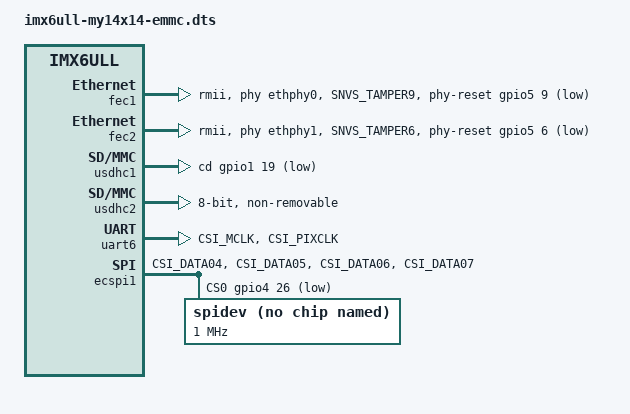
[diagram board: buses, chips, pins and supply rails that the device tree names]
/*
 * Copyright (C) 2016 Freescale Semiconductor, Inc.
 *
 * This program is free software; you can redistribute it and/or modify
 * it under the terms of the GNU General Public License version 2 as
 * published by the Free Software Foundation.
 */

#include "imx6ull-14x14-evk.dts"

&pinctrl_lcdif_reset {
	fsl,pins = <
		/* cleared: TAMPER9 used for ENET1 PHY reset on this board */
	>;
};

&iomuxc_snvs {
	imx6ull-myboard {
		pinctrl_enet1_reset: enet1resetgrp {
			fsl,pins = <
				MX6ULL_PAD_SNVS_TAMPER9__GPIO5_IO09	0x000110A0
			>;
		};

		pinctrl_enet2_reset: enet2resetgrp {
			fsl,pins = <
				MX6ULL_PAD_SNVS_TAMPER6__GPIO5_IO06	0x000110A0
			>;
		};
	};
};


&fec1 {
	pinctrl-names = "default";
	pinctrl-0 = <&pinctrl_enet1
		     &pinctrl_enet1_reset>;
	phy-mode = "rmii";
	phy-handle = <&ethphy0>;
	phy-reset-gpios = <&gpio5 9 GPIO_ACTIVE_LOW>;
	phy-reset-duration = <200>;
	status = "okay";
};

&fec2 {
	pinctrl-names = "default";
	pinctrl-0 = <&pinctrl_enet2
		     &pinctrl_enet2_reset>;
	phy-mode = "rmii";
	phy-handle = <&ethphy1>;
	phy-reset-gpios = <&gpio5 6 GPIO_ACTIVE_LOW>;
	phy-reset-duration = <200>;
	status = "okay";
};

&ethphy0 {
	smsc,disable-energy-detect;
	reg = <0>;
};

&ethphy1 {
	smsc,disable-energy-detect;
};

&usdhc1 {
	pinctrl-names = "default", "state_100mhz", "state_200mhz";
	pinctrl-0 = <&pinctrl_usdhc1>;
	pinctrl-1 = <&pinctrl_usdhc1_100mhz>;
	pinctrl-2 = <&pinctrl_usdhc1_200mhz>;
	cd-gpios = <&gpio1 19 GPIO_ACTIVE_LOW>;
	keep-power-in-suspend;
	enable-sdio-wakeup;
	no-1-8-v;
	status = "okay";
};

&usdhc2 {
	pinctrl-names = "default", "state_100mhz", "state_200mhz";
	pinctrl-0 = <&pinctrl_usdhc2_8bit>;
	pinctrl-1 = <&pinctrl_usdhc2_8bit_100mhz>;
	pinctrl-2 = <&pinctrl_usdhc2_8bit_200mhz>;
	bus-width = <8>;
	no-1-8-v;
	non-removable;
	status = "okay";
};

&csi {
    status = "disabled";
};

&iomuxc {
        pinctrl_my_uart6: myuart6grp {
            fsl,pins = <
                MX6UL_PAD_CSI_MCLK__UART6_DCE_TX    0x1b0b1
                MX6UL_PAD_CSI_PIXCLK__UART6_DCE_RX   0x1b0b1
            >;
        };
        pinctrl_my_ecspi1: myecspi1grp {
            fsl,pins =< 
                MX6UL_PAD_CSI_DATA04__ECSPI1_SCLK   0x100b1
                MX6UL_PAD_CSI_DATA05__GPIO4_IO26    0x100b1
                MX6UL_PAD_CSI_DATA06__ECSPI1_MOSI   0x100b1
                MX6UL_PAD_CSI_DATA07__ECSPI1_MISO   0x100b1
            >;
        };
};

&uart6 {
    compatible = "zxr-my_uart";
    pinctrl-names = "default";
    pinctrl-0 = <&pinctrl_my_uart6>;
    status = "okay";
};

&ov5640 {
    status = "disabled";
};

&i2c1 {
    compatible = "i2c-bus-zxr";
    /delete-node/ mag3110@0e;
    /delete-node/ fxls8471@1e;
};

&ecspi1 {
    compatible = "zxr-my_spi_master"; 
    pinctrl-names = "default";
    pinctrl-0 = <&pinctrl_my_ecspi1>;   
    cs-gpios = <&gpio4 26 GPIO_ACTIVE_LOW>;                      
    status = "okay";                     

    spidev@0 {
        compatible = "linux,spidev";
        reg = <0>;
        spi-max-frequency = <1000000>;
    };
};
